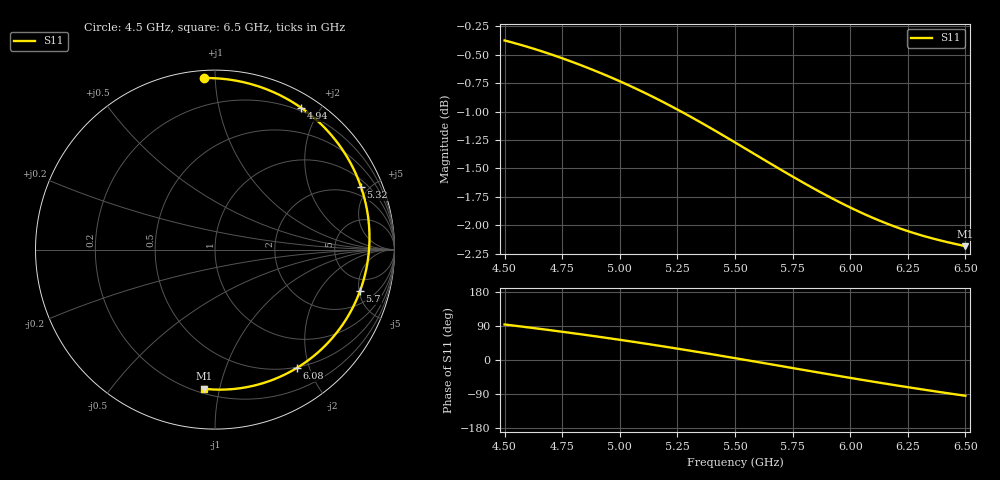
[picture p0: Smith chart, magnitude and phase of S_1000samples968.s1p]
! TOUCHSTONE file generated by CST MICROWAVE STUDIO
! Date and time: Sat Oct 29 23:01:41 2022
! Project name: L.cst
! Parameters = {Di=1.27; Epsilon_r=1.56; InnerDiameter=1.27; Length=2; Lf=10; Lg=60; OuterConductorThickness=0.2921; OuterDiameter=3.6; Wf=3; Wp=41.2; de=1.5; df=6.8; g=0.8; gx=3.22778; gy=3.75447; h=2.34; hf=1.524; px=10.6178; py=8.15196; w=9.7; wx=7.38997; wy=4.39749}
! Header version: 2018
! Port assignment regex: !\s*Touchstone port\s*([0-9]+)\s*=\s*(CST MWS port|CST DS port)\s*([0-9]+|Zmin|Zmax)\s*\(\"(.*)\"\)(\s*mode\s*([0-9]+))?.*
! Touchstone port assignment:
! Touchstone port 1 = CST MWS port 1 ("")
# GHz S DB R 50
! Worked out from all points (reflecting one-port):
!   101 points, 4.5 GHz to 6.5 GHz, reference 50 ohm
!   lowest |S11| = -2.2 dB at 6.5 GHz (marker M1), VSWR 8.00, Z = 11.5 - j45 ohm
!   phase of S11 starts at 94 deg and turns -188 deg over the sweep
!   S11 on the Smith chart (normalised r, x): 4.5 GHz: 0.04, +0.94; 4.94 GHz: 0.16, +1.77; 5.32 GHz: 1.40, +4.48; 5.7 GHz: 3.25, -5.11; 6.08 GHz: 0.49, -1.81; 6.5 GHz: 0.23, -0.90
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4.5  -0.38 93.7
4.58  -0.42 87.8
4.64  -0.46 83.2
4.7  -0.50 78.5
4.76  -0.54 73.7
4.86  -0.62 65.4
4.94  -0.68 58.6
5  -0.73 53.3
5.06  -0.79 47.9
5.12  -0.85 42.4
5.2  -0.93 34.8
5.26  -0.99 29.0
5.32  -1.06 23.1
5.42  -1.18 13.1
5.5  -1.27 4.9
5.6  -1.39 -5.5
5.7  -1.51 -16.0
5.76  -1.58 -22.3
5.82  -1.65 -28.6
5.88  -1.72 -34.8
5.94  -1.78 -41.0
6  -1.84 -47.1
6.08  -1.92 -55.2
6.16  -1.99 -63.1
6.26  -2.06 -72.7
6.32  -2.09 -78.3
6.38  -2.13 -83.8
6.5  -2.18 -94.4
